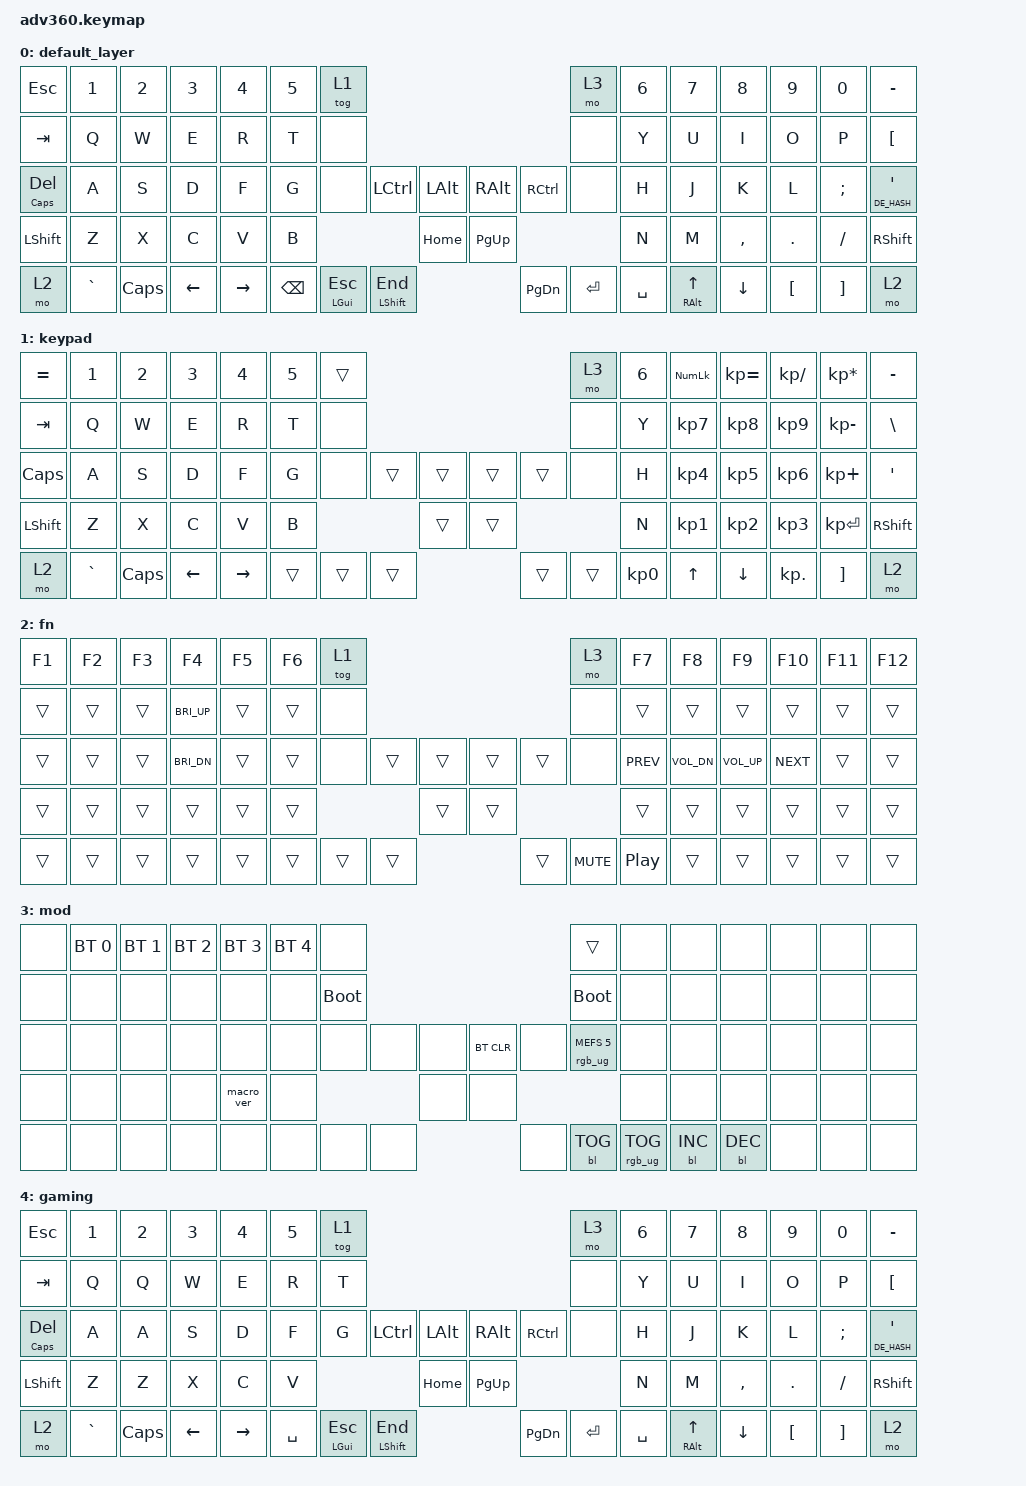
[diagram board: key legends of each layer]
#include <behaviors.dtsi>
#include <dt-bindings/zmk/keys.h>
#include <dt-bindings/zmk/bt.h>
#include <dt-bindings/zmk/rgb.h>
#include <dt-bindings/zmk/backlight.h>
#include "keys_de.h"

/ {
    behaviors {
      #include "macros.dtsi"
      #include "version.dtsi"
      #ifndef VERSION_MACRO
      macro_ver: macro_ver {
        compatible = "zmk,behavior-macro";
        label = "macro_version";
        #binding-cells = <0>;
        bindings = <&kp RET>;
      };
      #endif

      hm: homerow_mods {
          compatible = "zmk,behavior-hold-tap";
          label = "HOMEROW_MODS";
          #binding-cells = <2>;
          tapping-term-ms = <100>;
          quick_tap_ms = <175>;
          flavor = "tap-preferred";
          bindings = <&kp>, <&kp>;
      };

      tm: thumb_mods {
          compatible = "zmk,behavior-hold-tap";
          label = "THUMB_MODS";
          #binding-cells = <2>;
          tapping-term-ms = <150>;
          quick_tap_ms = <175>;
          flavor = "tap-preferred";
          bindings = <&kp>, <&kp>;
      };
    };

  keymap {
    compatible = "zmk,keymap";

    default_layer {
      bindings = <
        &kp ESC      &kp N1     &kp N2     &kp N3      &kp N4      &kp N5 &tog 1                                                                    &mo 3 &kp N6 &kp N7      &kp N8      &kp N9     &kp N0        &kp MINUS
        &kp TAB      &kp Q      &kp W      &kp E       &kp R       &kp T  &none                                                                     &none &kp Y  &kp U       &kp I       &kp O      &kp P         &kp LBKT
        &hm CAPS DEL &kp A      &kp S      &kp D       &kp F       &kp G  &none          &kp LCTRL      &kp LALT      &kp RALT  &kp RCTRL           &none &kp H  &kp J       &kp K       &kp L      &kp SEMI      &hm DE_HASH SQT
        &kp LSHFT    &kp Z      &kp X      &kp C       &kp V       &kp B                                &kp HOME      &kp PG_UP                           &kp N  &kp M       &kp COMMA   &kp DOT    &kp FSLH      &kp RSHFT
        &mo 2        &kp GRAVE  &kp CAPS   &kp LEFT    &kp RIGHT                &kp BSPC &tm LGUI ESC   &tm LSHFT END &kp PG_DN &kp ENTER &kp SPACE              &tm RALT UP &kp DOWN    &kp LBKT   &kp RBKT      &mo 2
      >;
    };
    keypad {
      bindings = <
        &kp EQUAL &kp N1    &kp N2   &kp N3   &kp N4     &kp N5 &trans                                                           &mo 3 &kp N6 &kp KP_NUM &kp KP_EQUAL &kp KP_DIVIDE &kp KP_MULTIPLY &kp MINUS
        &kp TAB   &kp Q     &kp W    &kp E    &kp R      &kp T  &none                                                            &none &kp Y  &kp KP_N7  &kp KP_N8    &kp KP_N9     &kp KP_MINUS    &kp BSLH
        &kp CAPS  &kp A     &kp S    &kp D    &kp F      &kp G  &none           &trans    &trans   &trans    &trans              &none &kp H  &kp KP_N4  &kp KP_N5    &kp KP_N6     &kp KP_PLUS     &kp SQT
        &kp LSHFT &kp Z     &kp X    &kp C    &kp V      &kp B                            &trans   &trans                              &kp N  &kp KP_N1  &kp KP_N2    &kp KP_N3     &kp KP_ENTER    &kp RSHFT
        &mo 2     &kp GRAVE &kp CAPS &kp LEFT &kp RIGHT                &trans   &trans    &trans   &trans    &trans    &kp KP_N0              &kp UP     &kp DOWN     &kp KP_DOT    &kp RBKT        &mo 2
      >;
    };
    fn {
      bindings = <
        &kp F1 &kp F2 &kp F3 &kp F4       &kp F5 &kp F6 &tog 1                                                 &mo 3 &kp F7     &kp F8       &kp F9       &kp F10    &kp F11 &kp F12
        &trans &trans &trans &kp C_BRI_UP &trans &trans  &none                                                 &none &trans     &trans       &trans       &trans     &trans  &trans
        &trans &trans &trans &kp C_BRI_DN &trans &trans  &none        &trans &trans &trans &trans              &none &kp C_PREV &kp C_VOL_DN &kp C_VOL_UP &kp C_NEXT &trans  &trans
        &trans &trans &trans &trans       &trans &trans                      &trans &trans                           &trans     &trans       &trans       &trans     &trans  &trans
        &trans &trans &trans &trans       &trans               &trans &trans &trans &trans &kp C_MUTE &kp C_PP                  &trans       &trans       &trans     &trans  &trans
      >;
    };
    mod {
      bindings = <
        &none &bt BT_SEL 0 &bt BT_SEL 1 &bt BT_SEL 2 &bt BT_SEL 3 &bt BT_SEL 4 &none                                                                     &trans                 &none        &none        &none        &none &none &none
        &none &none        &none        &none        &none        &none        &bootloader                                                               &bootloader            &none        &none        &none        &none &none &none
        &none &none        &none        &none        &none        &none        &none                   &none &none &bt BT_CLR &none                      &rgb_ug RGB_MEFS_CMD 5 &none        &none        &none        &none &none &none
        &none &none        &none        &none        &macro_ver   &none                                      &none &none                                                        &none        &none        &none        &none &none &none
        &none &none        &none        &none        &none                                       &none &none &none &none      &bl BL_TOG &rgb_ug RGB_TOG                                     &bl BL_INC   &bl BL_DEC   &none &none &none
      >;
    };
    gaming {
      /// shift for WASD on "homerow",
      bindings = <
        &kp ESC      &kp N1     &kp N2     &kp N3      &kp N4      &kp N5 &tog 1                                                                     &mo 3 &kp N6 &kp N7      &kp N8      &kp N9     &kp N0        &kp MINUS
        &kp TAB      &kp Q      &kp Q      &kp W       &kp E       &kp R  &kp T                                                                      &none &kp Y  &kp U       &kp I       &kp O      &kp P         &kp LBKT
        &hm CAPS DEL &kp A      &kp A      &kp S       &kp D       &kp F  &kp G           &kp LCTRL      &kp LALT      &kp RALT  &kp RCTRL           &none &kp H  &kp J       &kp K       &kp L      &kp SEMI      &hm DE_HASH SQT
        &kp LSHFT    &kp Z      &kp Z      &kp X       &kp C       &kp V                                 &kp HOME      &kp PG_UP                           &kp N  &kp M       &kp COMMA   &kp DOT    &kp FSLH      &kp RSHFT
        &mo 2        &kp GRAVE  &kp CAPS   &kp LEFT    &kp RIGHT                &kp SPACE &tm LGUI ESC   &tm LSHFT END &kp PG_DN &kp ENTER &kp SPACE              &tm RALT UP &kp DOWN    &kp LBKT   &kp RBKT      &mo 2
      >;
    };
    /// layer3 {
    ///   bindings = <
    ///     ///    ¹      ²      ³      ›      ‹                                                              ¢      ¥      ‚      ‘      ’
    ///     &trans &trans &trans &trans &trans &trans &trans                                           &trans &trans &trans &trans &trans &trans &trans
    ///     ///    …      _      [      ]      ^                                                              !      <      >      =      &
    ///     &trans &trans &trans &trans &trans &trans &none                                            &none  &trans &trans &trans &trans &trans &trans
    ///     ///    \      /      {      }      *                                                              ?      (      )      -      :
    ///     &trans &trans &trans &trans &trans &trans &none         &trans &trans &trans &trans        &none  &trans &trans &trans &trans &trans &trans
    ///     &trans &trans &trans &trans &trans &trans                      &trans &trans                      &trans &trans &trans &trans &trans &trans
    ///     &trans &trans &trans &trans &trans               &trans &trans &trans &trans &trans &trans               &trans &trans &trans &trans &trans
    ///   >;
    /// };
    /// layer4 {
    ///   bindings = <
    ///     ///    ª      º      №             ·      £                                                       ¤             /      *      -
    ///     &trans &trans &trans &trans &trans &trans &trans                                           &trans &trans &TAB   &trans &trans &trans &trans
    ///     ///                                                                                               ¡                           +      −
    ///     &trans &PG_UP &BSPC  &UP    &DEL   &PB_DN &none                                            &none  &trans &N7    &N8    &N9   &trans &trans
    ///     ///                                                                                               ¿                           ,      .
    ///     &trans &HOME  &LEFT  &DOWN  &RIGHT &END   &none         &trans &trans &trans &trans        &none  &trans &N4    &N5    &N6   &trans &trans
    ///     ///                  <ins>                                                                        :                           ;
    ///     &trans &ESC   &TAB   &trans &ENTER &trans                      &trans &trans                      &trans &trans &trans &trans &trans &trans
    ///     /// TODO: 
    ///     &trans &trans &trans &trans &trans               &trans &trans &trans &trans &trans &trans               &trans &trans &trans &trans &trans
    ///   >;
    /// };
    /// shift_fix {
    ///   bindings = <
    ///     //     °      §      ℓ      »      «                                                              $      €      „      “      ”      ẞ
    ///     &trans &trans &trans &trans &trans &trans &trans                                           &trans &trans &trans &trans &trans &trans &trans
    ///     &trans &trans &trans &trans &trans &trans &none                                            &none  &trans &trans &trans &trans &trans &trans
    ///     &trans &trans &trans &trans &trans &trans &none         &trans &trans &trans &trans        &none  &trans &trans &trans &trans &trans &trans
    ///     &trans &trans &trans &trans &trans &trans                      &trans &trans                      &trans &trans &trans &trans &trans &trans
    ///     &trans &trans &trans &trans &trans               &trans &trans &trans &trans &trans &trans               &trans &trans &trans &trans &trans
    ///   >;
    /// };
  };
};
